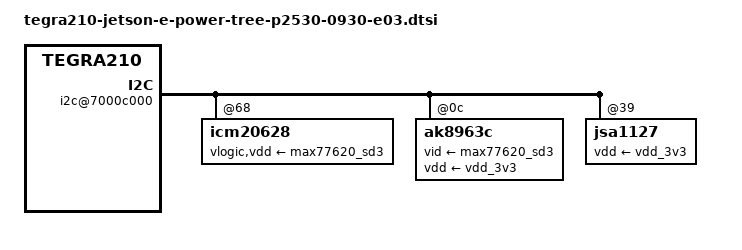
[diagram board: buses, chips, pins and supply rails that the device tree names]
/*
 * Copyright (c) 2014, NVIDIA CORPORATION.  All rights reserved.
 *
 * This program is free software; you can redistribute it and/or modify
 * it under the terms of the GNU General Public License as published by
 * the Free Software Foundation; either version 2 of the License, or
 * (at your option) any later version.
 *
 * This program is distributed in the hope that it will be useful, but WITHOUT
 * ANY WARRANTY; without even the implied warranty of MERCHANTABILITY or
 * FITNESS FOR A PARTICULAR PURPOSE.  See the GNU General Public License for
 * more details.
 *
 * You should have received a copy of the GNU General Public License along
 * along with this program. If not, see <http://www.gnu.org/licenses/>.
 */

#include "tegra210-jetson-common-power-tree-p2530-0930-e03.dtsi"

/ {
	pmc-iopower {
		iopower-sys-supply = <&max77620_sd3>;
		iopower-uart-supply = <&max77620_sd3>;
		iopower-audio-supply = <&max77620_sd3>;
		iopower-cam-supply = <&max77620_sd3>;
		iopower-pex-ctrl-supply = <&max77620_sd3>;
		iopower-sdmmc1-supply = <&max77620_ldo2>;
		iopower-sdmmc3-supply = <&max77620_sd3>;
		iopower-sdmmc4-supply = <&max77620_sd3>;
		iopower-audio-hv-supply = <&max77620_sd3>;
		iopower-debug-supply = <&max77620_sd3>;
		iopower-dmic-supply = <&max77620_sd3>;
		iopower-gpio-supply = <&vdd_3v3>;
		iopower-spi-supply = <&max77620_sd3>;
		iopower-spi-hv-supply = <&max77620_sd3>;
		iopower-sdmmc2-supply = <&max77620_sd3>;
		iopower-dp-supply = <&max77620_sd3>;
	};

	i2c@7000c000 {
		icm20628@68 {
			vlogic-supply = <&max77620_sd3>;
			vdd-supply = <&max77620_sd3>;
		};

		ak8963c@0c {
			vid-supply = <&max77620_sd3>;
			vdd-supply = <&vdd_3v3>;
		};

		jsa1127@39 {
			vdd-supply = <&vdd_3v3>;
		};
	};
};
